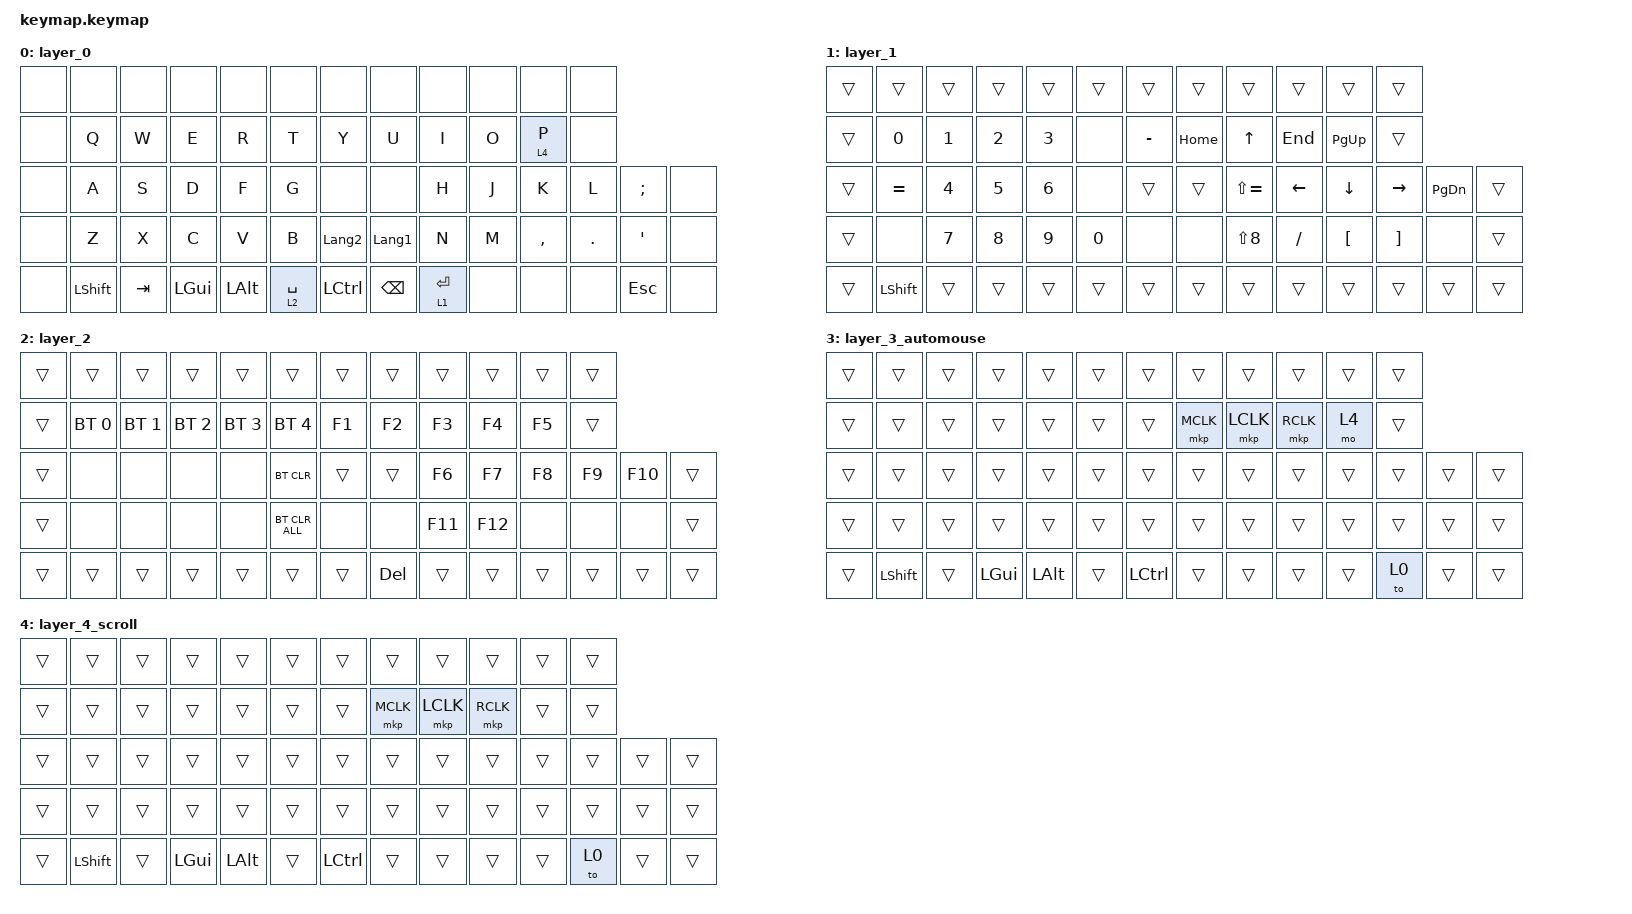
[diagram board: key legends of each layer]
#include <behaviors.dtsi>
#include <dt-bindings/zmk/bt.h>
#include <dt-bindings/zmk/keys.h>
#include <dt-bindings/zmk/outputs.h>
#include <dt-bindings/zmk/pointing.h>
#include <input/processors.dtsi>

/*
 * XS/S layout, trackball on the right (central). Mapped after the KobitoKey layout (US-layout OS).
 * Layers: 0 default / 1 numbers+arrows (hold right thumb Enter) / 2 Bluetooth+F-keys (hold left thumb Space)
 *         3 auto-mouse (activated by trackball) / 4 scroll (hold P on layer 0; the key right of R-Click (same P position) on layer 3)
 * Eisuu is pos 44 (right of B), Kana is pos 45 (next to the right thumbs); the keys at pos 61/62 are replaced by the trackball.
 * Positions follow the L-layout numbering; the S/XS position map drops unused ones.
 */

/ {
    /* scroll axis snap: only the dominant axis (vertical or horizontal) passes; a 150 ms pause releases the lock */
    axis_snap: axis_snap {
        compatible = "zmk,input-processor-axis-snap";
        #input-processor-cells = <0>;
        idle-ms = <150>;
        decide-threshold = <4>;
        switch-ratio = <3>;
    };

    /* auto-mouse: like zip_temp_layer, but click keys / modifiers don't cancel the layer, and clicks extend it */
    auto_mouse: auto_mouse {
        compatible = "zmk,input-processor-temp-layer-ext";
        #input-processor-cells = <2>;
        excluded-positions = <19 20 21 22 53 55 56 57 58 63 64>;
        /* clicking restarts the hold timer, so repeated clicks do not fall back to layer 0 */
        extend-positions = <19 20 21>;
    };

    keymap {
        compatible = "zmk,keymap";

        layer_0 {
            bindings = <
&none &none &none &none &none &none &none &none &none &none &none &none
&none &kp Q &kp W &kp E &kp R &kp T &kp Y &kp U &kp I &kp O &lt 4 P &none
&none &kp A &kp S &kp D &kp F &kp G &none &none &kp H &kp J &kp K &kp L &kp SEMI &none
&none &kp Z &kp X &kp C &kp V &kp B &kp LANGUAGE_2 &kp LANGUAGE_1 &kp N &kp M &kp COMMA &kp DOT &kp SQT &none
&none &kp LSHFT &kp TAB &kp LGUI &kp LALT &lt 2 SPACE &kp LCTRL &kp BSPC &lt 1 RET &none &none &none &kp ESC &none
            >;
        };

        layer_1 {
            bindings = <
&trans &trans &trans &trans &trans &trans &trans &trans &trans &trans &trans &trans
&trans &kp N0 &kp N1 &kp N2 &kp N3 &none &kp MINUS &kp HOME &kp UP &kp END &kp PG_UP &trans
&trans &kp EQUAL &kp N4 &kp N5 &kp N6 &none &trans &trans &kp LS(EQUAL) &kp LEFT &kp DOWN &kp RIGHT &kp PG_DN &trans
&trans &none &kp N7 &kp N8 &kp N9 &kp N0 &none &none &kp LS(N8) &kp FSLH &kp LBKT &kp RBKT &none &trans
&trans &kp LSHFT &trans &trans &trans &trans &trans &trans &trans &trans &trans &trans &trans &trans
            >;
        };

        layer_2 {
            bindings = <
&trans &trans &trans &trans &trans &trans &trans &trans &trans &trans &trans &trans
&trans &bt BT_SEL 0 &bt BT_SEL 1 &bt BT_SEL 2 &bt BT_SEL 3 &bt BT_SEL 4 &kp F1 &kp F2 &kp F3 &kp F4 &kp F5 &trans
&trans &none &none &none &none &bt BT_CLR &trans &trans &kp F6 &kp F7 &kp F8 &kp F9 &kp F10 &trans
&trans &none &none &none &none &bt BT_CLR_ALL &none &none &kp F11 &kp F12 &none &none &none &trans
&trans &trans &trans &trans &trans &trans &trans &kp DEL &trans &trans &trans &trans &trans &trans
            >;
        };

        layer_3_automouse {
            bindings = <
&trans &trans &trans &trans &trans &trans &trans &trans &trans &trans &trans &trans
&trans &trans &trans &trans &trans &trans &trans &mkp MCLK &mkp LCLK &mkp RCLK &mo 4 &trans
&trans &trans &trans &trans &trans &trans &trans &trans &trans &trans &trans &trans &trans &trans
&trans &trans &trans &trans &trans &trans &trans &trans &trans &trans &trans &trans &trans &trans
&trans &kp LSHFT &trans &kp LGUI &kp LALT &trans &kp LCTRL &trans &trans &trans &trans &to 0 &trans &trans
            >;
        };

        layer_4_scroll {
            bindings = <
&trans &trans &trans &trans &trans &trans &trans &trans &trans &trans &trans &trans
&trans &trans &trans &trans &trans &trans &trans &mkp MCLK &mkp LCLK &mkp RCLK &trans &trans
&trans &trans &trans &trans &trans &trans &trans &trans &trans &trans &trans &trans &trans &trans
&trans &trans &trans &trans &trans &trans &trans &trans &trans &trans &trans &trans &trans &trans
&trans &kp LSHFT &trans &kp LGUI &kp LALT &trans &kp LCTRL &trans &trans &trans &trans &to 0 &trans &trans
            >;
        };
    };
};

&pointing_listener {
    /* ball movement -> cursor, and enable layer 3 (auto-mouse) for 600 ms */
    input-processors = <&zip_xy_transform (INPUT_TRANSFORM_X_INVERT | INPUT_TRANSFORM_Y_INVERT)
                        &auto_mouse 3 1000>;

    /* while layer 4 is active, ball movement becomes scrolling */
    scroller {
        layers = <4>;
        input-processors = <&zip_xy_transform (INPUT_TRANSFORM_X_INVERT | INPUT_TRANSFORM_Y_INVERT)
                            &axis_snap
                            &zip_xy_to_scroll_mapper
                            &zip_scroll_transform INPUT_TRANSFORM_Y_INVERT
                            &zip_scroll_scaler 1 6>;
    };
};
